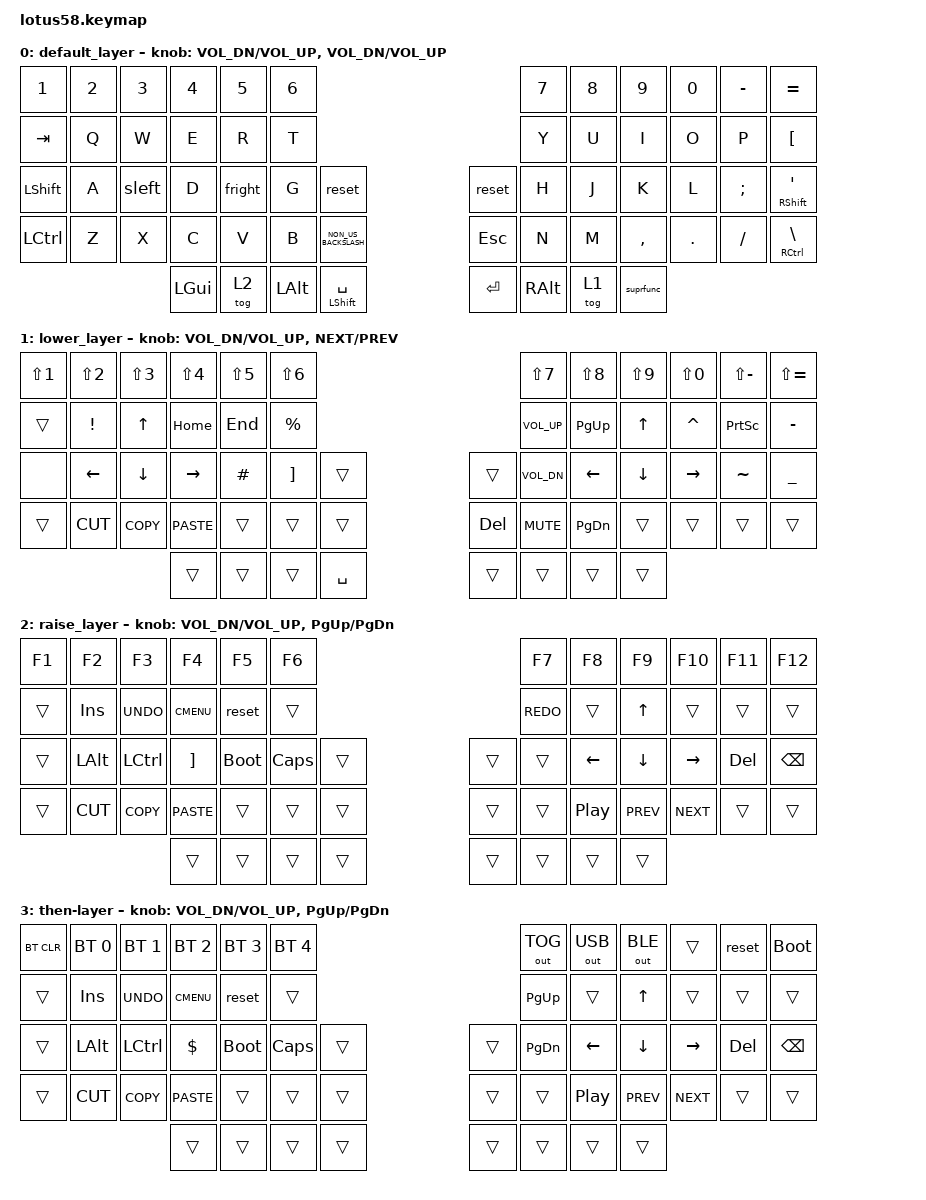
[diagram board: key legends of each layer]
/*
 * Copyright (c) 2022 The ZMK Contributors
 *
 * SPDX-License-Identifier: MIT
 */

#include <behaviors.dtsi>
#include <dt-bindings/zmk/keys.h>
#include <dt-bindings/zmk/bt.h>
#include <dt-bindings/zmk/outputs.h>

/ {
    conditional_layers {
        compatible = "zmk,conditional-layers";
        tri_layer {
            if-layers = <1 2>;
            then-layer = <3>;
        };
    };
    combos {
        compatible = "zmk,combos";
        combo_dsklg {
            timeout-ms = <100>;
            key-positions = <24 52>;
            layers = <0>;
            bindings = <&kp LGUI>;
        };        
    };

    behaviors {
        suprfunc: supr_func {
            compatible = "zmk,behavior-mod-morph";
            label = "SUPR_FUNC";
            #binding-cells = <0>;
            bindings = <&kp BSPC>, <&kp DELETE>;
            mods = <(MOD_LSFT|MOD_RSFT)>;
        };
        sleft: s_left {
            compatible = "zmk,behavior-mod-morph";
            label = "S_LEFT";
            #binding-cells = <0>;
            bindings = <&kp S>, <&kp LEFT>;
            mods = <(MOD_LALT|MOD_RALT)>;
        };
        fright: f_right {
            compatible = "zmk,behavior-mod-morph";
            label = "R_RIGHT";
            #binding-cells = <0>;
            bindings = <&kp F>, <&kp RIGHT>;
            mods = <(MOD_LALT|MOD_RALT)>;
        };
    };

    keymap {
        compatible = "zmk,keymap";

        default_layer {
//   ------------------------------------------------------------------------------------------------------------
// |   &   |  é  |  "   |  '   |  (   | -                         |  è   |  _    |  ç    |  à   |   )   |   =   | 
// |  TAB  |  A  |  Z  |  E   |  R   |  T   |                     |  Y   |  U    |  I    |  O   |   P   |   ^   | 
// |  SFT  |  Q  |  S  |  D   |  F   |  G   |  RESET   |  | RESET |  H   |  J    |  K    |  L   |   M   | ù SFT | 
// |  CTRL |  Z  |  X  |  C   |  V   |  B   |  >       |  | echap |  N   |  ,    |  ;    |   :  |   !   | * CTRL| 
//                     |win|  layer 2| alt |space shift|  |ENTER  | altgr|layer 1| suppr |                        
            bindings = <
&kp N1    &kp N2  &kp N3   &kp N4     &kp N5    &kp N6                                          &kp N7    &kp N8      &kp N9    &kp N0   &kp MINUS  &kp EQUAL
&kp TAB   &kp Q   &kp W    &kp E      &kp R     &kp T                                           &kp Y     &kp U       &kp I     &kp O    &kp P      &kp LBKT
&kp LSHFT &kp A   &sleft   &kp D      &fright   &kp G      &reset                     &reset    &kp H     &kp J       &kp K     &kp L    &kp SEMI   &mt RSHFT SQT
&kp LCTRL &kp Z   &kp X    &kp C      &kp V     &kp B      &kp NON_US_BACKSLASH       &kp ESC   &kp N     &kp M       &kp COMMA &kp DOT  &kp FSLH   &mt RCTRL BSLH
                        &kp LEFT_GUI  &tog 2   &kp LALT    &mt LSHFT SPACE            &kp ENTER &kp RALT  &tog 1      &suprfunc     
            >;

            sensor-bindings = <&inc_dec_kp C_VOL_DN C_VOL_UP &inc_dec_kp C_VOL_DN C_VOL_UP>;
        };

        lower_layer {
// ------------------------------------------------------------------------------------------------------------
// |   1   |  2  |  3  |  4   |  5   |  6   |                   |  7   |  8    |  9  |   0  |   )   | =     |
// |       |  !  |  ^  |HOME  |  END |  %   |                   | VOL^ |  PGUP |  ^  |  ^   |  PSCR |   -   |
// |  none |  <- |  v  | ->   |  #   | $    |        |  |       | VOLv |    <- |   v |  ->  |   ~   |   _   |
// |       |  cut| copy| paste|      |      |        |  |       | MUTE |  PGDN | INS |  :   |   *   |   |   |
//                     |      |      |      |        |  |       |      |       |     |       
            bindings = <
&kp LS(N1) &kp LS(N2)  &kp LS(N3) &kp LS(N4)  &kp LS(N5) &kp LS(N6)                               &kp LS(N7)      &kp LS(N8) &kp LS(N9)   &kp LS(N0)  &kp LS(MINUS)    &kp LS(EQUAL)
&trans     &kp EXCL    &kp UP     &kp HOME    &kp END    &kp PRCNT                                &kp C_VOL_UP    &kp PG_UP  &kp UP       &kp CARET   &kp PSCRN        &kp MINUS
&none      &kp LEFT    &kp DOWN   &kp RIGHT   &kp HASH   &kp RIGHT_BRACKET  &trans           &trans        &kp C_VOL_DN    &kp LEFT   &kp DOWN     &kp RIGHT   &kp TILDE        &kp UNDER
&trans     &kp K_CUT   &kp K_COPY &kp K_PASTE &trans     &trans    &trans           &kp DELETE    &kp C_MUTE      &kp PG_DN  &trans       &trans    &trans          &trans 
                                  &trans      &trans     &trans    &kp SPACE        &trans        &trans          &trans     &trans
            >;

            sensor-bindings = <&inc_dec_kp C_VOL_DN C_VOL_UP &inc_dec_kp C_NEXT C_PREV>;
        };

        raise_layer {
// ------------------------------------------------------------------------------------------------------------
// |F1     |  F2  |  F3  |  F4  |  F5  | F6     |                      | F7    |  F8   |  F9    |  F10 |  F11  |  F12  |
// |       |Insert| undo | menu | reset|        |                      |  redo |       |   ^    |      |       |       |
// |       | ALT  | CTRL | $    | boot |CapsLock|        |  |          |       |  <-   |   v    |  ->  |   DEL | BSPC  |
// |       |  cut | copy | paste|      |        |        |  |          |       | play  |Previous| next |       |       |
//                       |      |      |        |        |  |          |       |       |        |       
            bindings = <
&kp F1      &kp F2      &kp F3       &kp F4         &kp F5          &kp F6                                &kp F7        &kp F8        &kp F9        &kp F10    &kp F11  &kp F12
&trans      &kp INS     &kp K_UNDO   &kp K_CMENU    &reset          &trans                                &kp K_REDO    &trans        &kp UP        &trans     &trans   &trans
&trans      &kp LALT    &kp LCTRL    &kp RIGHT_BRACKET     &bootloader     &kp CLCK   &trans           &trans    &trans        &kp LEFT      &kp DOWN      &kp RIGHT  &kp DEL  &kp BSPC
&trans      &kp K_CUT   &kp K_COPY   &kp K_PASTE    &trans          &trans     &trans           &trans    &trans        &kp C_PP      &kp C_PREV    &kp C_NEXT &trans   &trans
                                     &trans         &trans          &trans     &trans           &trans    &trans        &trans        &trans 
            >;

            sensor-bindings = <&inc_dec_kp C_VOL_DN C_VOL_UP &inc_dec_kp PG_UP PG_DN>;
        };

        then-layer {
// ------------------------------------------------------------------------------------------------------------
// |BTCLR| BT1  | BT2  |  BT3  |  BT4  |  BT5 |                |OUTTOG|OUTUSB| OUTBT  |      | RESET | FLASH |
// |     | INS  |UNDO  | GUI   | RESET |      |                | PGUP |      |   ^    |      |       |       |
// |     | ALT  | CTRL | SHIFT | FLASH | CAPS |      |  |      | PGDN |   <- |   v    |  ->  |  DEL  | BSPC  |
// |     | CUT  | COPY | PASTE |       |      |      |  |      |      |  play|Previous| next |       |       |
//                     |       |       |      |      |  |      |      |      |        |       
            bindings = <
&bt BT_CLR &bt BT_SEL 0 &bt BT_SEL 1 &bt BT_SEL 2 &bt BT_SEL 3 &bt BT_SEL 4                           &out OUT_TOG  &out OUT_USB  &out OUT_BLE  &trans     &reset  &bootloader
&trans     &kp INS      &kp K_UNDO   &kp K_CMENU  &reset       &trans                                 &kp PG_UP     &trans        &kp UP        &trans     &trans  &trans
&trans     &kp LALT     &kp LCTRL    &kp DOLLAR   &bootloader  &kp CLCK     &trans          &trans    &kp PG_DN     &kp LEFT      &kp DOWN      &kp RIGHT  &kp DEL &kp BSPC
&trans     &kp K_CUT    &kp K_COPY   &kp K_PASTE  &trans       &trans       &trans          &trans    &trans        &kp C_PP      &kp C_PREV    &kp C_NEXT &trans  &trans
                                     &trans       &trans       &trans       &trans          &trans    &trans        &trans        &trans   
            >;

            sensor-bindings = <&inc_dec_kp C_VOL_DN C_VOL_UP &inc_dec_kp PG_UP PG_DN>;
        };
    };
};
